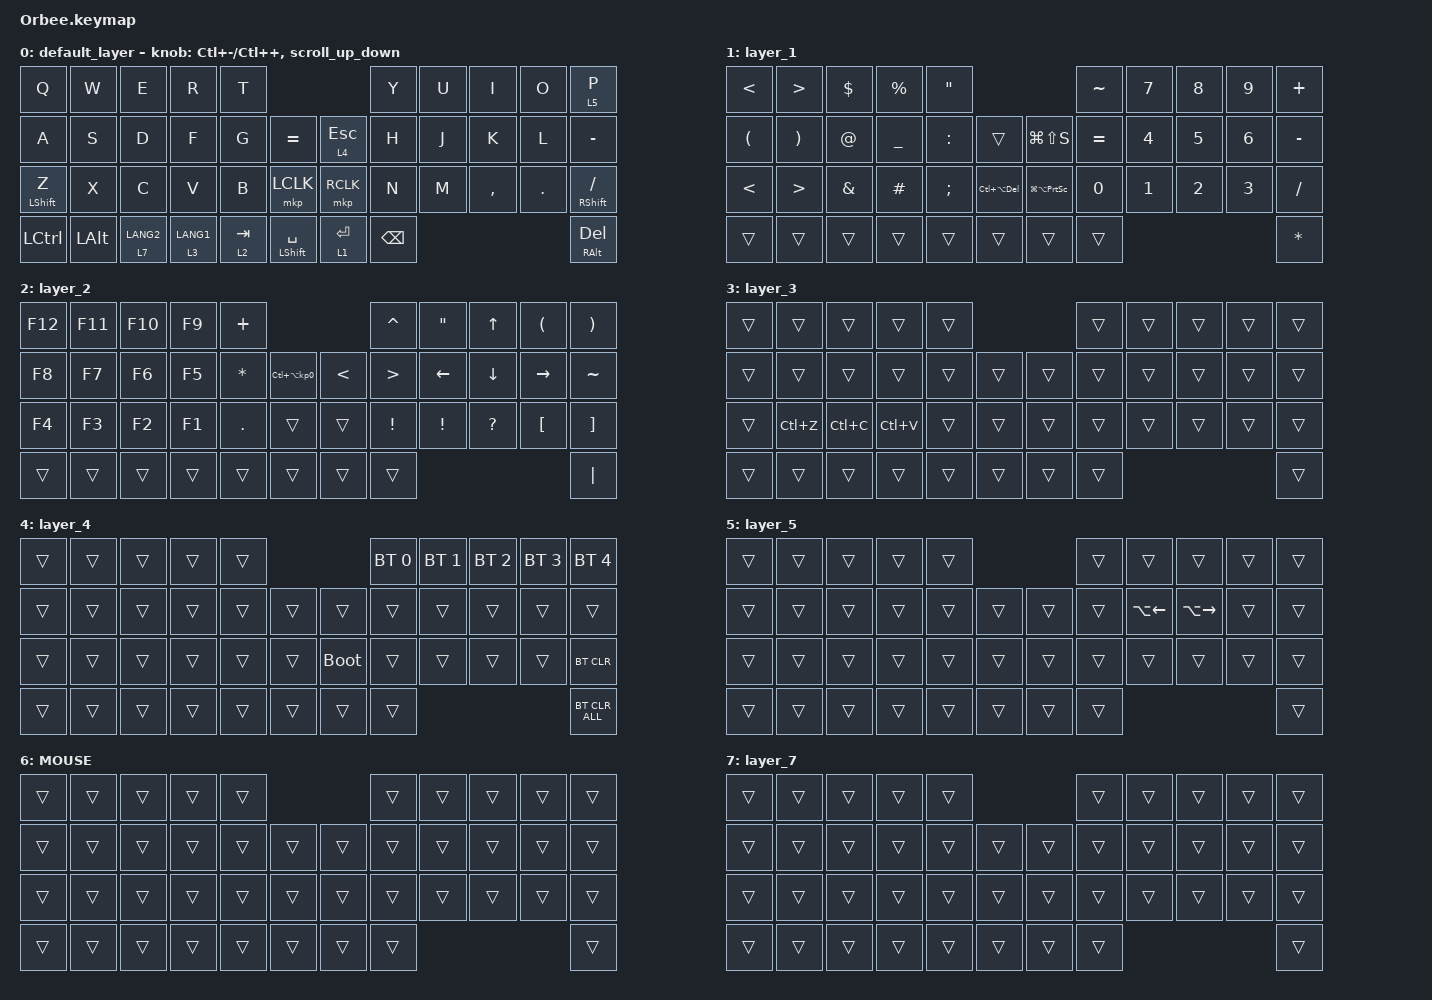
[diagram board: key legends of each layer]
#include <input/processors.dtsi>
#include <behaviors.dtsi>
#include <dt-bindings/zmk/bt.h>
#include <dt-bindings/zmk/keys.h>
#include <dt-bindings/zmk/pointing.h>

#define MOUSE 6

&mt {
    flavor = "balanced";
    quick-tap-ms = <0>;
};

/ {
    /* ▼▼▼ この aliases ブロックを丸ごと追加します ▼▼▼ */

    aliases {
        led-red = &led0;
        led-green = &led1;
        led-blue = &led2;
    };

    /* ▲▲▲ 追加箇所ここまで ▲▲▲ */

    combos { compatible = "zmk,combos"; };

    macros {
        to_layer_0: to_layer_0 {
            compatible = "zmk,behavior-macro-one-param";
            #binding-cells = <1>;
            bindings = <&to 0 &macro_param_1to1 &kp MACRO_PLACEHOLDER>;
            label = "TO_LAYER_0";
        };
    };

    behaviors {
        auto_mouse_layer: auto_mouse_layer {
            compatible = "zmk,input-behavior-tog-layer";
            #binding-cells = <1>;
            time-out-ms = <10000>;
            exit-on-interruption;  /* ← コメントアウトを外し、有効化します */
        };

        scroller: scroller {
            compatible = "zmk,input-behavior-touch-pad-scroll";
            #binding-cells = <0>;
            delay-ms = <0>;
            tap-ms = <5>;
        };

        touch_behavior_1: touch1 {
            compatible = "zmk,behavior-momentary";
            label = "TouchKey1";
            bindings = <&kp A>;
        };

        touch_behavior_2: touch2 {
            compatible = "zmk,behavior-momentary";
            label = "TouchKey2";
            bindings = <&kp B>;
        };

        touch_behavior_3: touch3 {
            compatible = "zmk,behavior-momentary";
            label = "TouchKey3";
            bindings = <&mo 1>;
        };

        lt_to_layer_0: lt_to_layer_0 {
            compatible = "zmk,behavior-hold-tap";
            label = "LAYER_TAP_TO_0";
            bindings = <&mo>, <&to_layer_0>;

            #binding-cells = <2>;
            tapping-term-ms = <200>;
        };

        /* ロータリーエンコーダー用のスクロール設定 */

        scroll_up_down: behavior_sensor_rotate_mouse_wheel_up_down {
            compatible = "zmk,behavior-sensor-rotate";
            #sensor-binding-cells = <0>;

            /* SCRL_UP / SCRL_DOWN はマウスホイールの動作です */

            bindings = <&msc SCRL_UP>, <&msc SCRL_DOWN>;

            tap-ms = <20>;
        };
    };

    /* * 【重要】Orbee rev.2 の左右ビルドを通すための設定 (そのまま維持) */

    #if EXPOSE_TRACKBALL

    trackball_listener {
        compatible = "zmk,input-behavior-listener";
        device = <&trackball>;
        layers = <0>;
        evt-type = <INPUT_EV_REL>;
        x-input-code = <INPUT_REL_X>;
        y-input-code = <INPUT_REL_Y>;
        bindings = <&auto_mouse_layer MOUSE>;
    };

    scroll_listener {
        compatible = "zmk,input-behavior-listener";
        device = <&trackball>;
        layers = <MOUSE>;
        evt-type = <INPUT_EV_REL>;
        x-input-code = <INPUT_REL_X>;
        y-input-code = <INPUT_REL_Y>;
        bindings = <&scroller>;
        xy-multiplier = <1>;
    };

    /* ▼▼▼ 追加箇所ここから ▼▼▼ */
    /* 特定レイヤー(例:2)でトラックボールをスクロールにする設定 */

    scroll_listener_layer2 {
        compatible = "zmk,input-behavior-listener";
        device = <&trackball>;
        layers = <5>;                /* ← 適用したいレイヤー番号を指定 */
        evt-type = <INPUT_EV_REL>;
        x-input-code = <INPUT_REL_X>;
        y-input-code = <INPUT_REL_Y>;

        /* XYの動きをスクロールイベントに直接変換 */

        input-processors = <&zip_xy_to_scroll_mapper>;
    };

    /* ▲▲▲ 追加箇所ここまで ▲▲▲ */

    #endif

    keymap {
        compatible = "zmk,keymap";

        /* sensors = ... の行は削除してデフォルト定義を使用します */

        default_layer {
            bindings = <
&kp Q             &kp W         &kp E        &kp R        &kp T                                            &kp Y          &kp U  &kp I      &kp O    &lt 5 P
&kp A             &kp S         &kp D        &kp F        &kp G      &kp EQUAL               &lt 4 ESCAPE  &kp H          &kp J  &kp K      &kp L    &kp MINUS
&mt LEFT_SHIFT Z  &kp X         &kp C        &kp V        &kp B      &mkp LCLK               &mkp RCLK     &kp N          &kp M  &kp COMMA  &kp DOT  &mt RIGHT_SHIFT SLASH
&kp LEFT_CONTROL  &kp LEFT_ALT  &lt 7 LANG2  &lt 3 LANG1  &lt 2 TAB  &mt LEFT_SHIFT SPACE    &lt 1 ENTER   &kp BACKSPACE                             &mt RIGHT_ALT DEL
            >;

            /* ▼▼▼ ここを修正しました ▼▼▼
             * 1つ目と2つ目の両方にスクロール(&scroll_up_down)を割り当てました。
             * これで左右どちらのエンコーダーもスクロールとして動作するはずです。
             */

            sensor-bindings =
                <&inc_dec_kp LC(MINUS) LC(PLUS)>,
                <&scroll_up_down>;
        };

        layer_1 {
            bindings = <
&kp LESS_THAN         &kp GREATER_THAN       &kp DOLLAR     &kp PERCENT     &kp DOUBLE_QUOTES                                              &kp TILDE  &kp N7        &kp N8        &kp N9        &kp PLUS
&kp LEFT_PARENTHESIS  &kp RIGHT_PARENTHESIS  &kp AT_SIGN    &kp UNDERSCORE  &kp COLON          &trans             &kp LG(LS(S))            &kp EQUAL  &kp NUMBER_4  &kp N5        &kp NUMBER_6  &kp MINUS
&kp LESS_THAN         &kp GREATER_THAN       &kp AMPERSAND  &kp HASH        &kp SEMICOLON      &kp LC(LA(DEL))    &kp LG(LA(PRINTSCREEN))  &kp N0     &kp NUMBER_1  &kp NUMBER_2  &kp NUMBER_3  &kp SLASH
&trans                &trans                 &trans         &trans          &trans             &trans             &trans                   &trans                                               &kp ASTERISK
            >;
        };

        layer_2 {
            bindings = <
&kp F12  &kp F11  &kp F10  &kp F9  &kp PLUS                                                &kp CARET         &kp DOUBLE_QUOTES  &kp UP_ARROW    &kp LEFT_PARENTHESIS  &kp RIGHT_PARENTHESIS
&kp F8   &kp F7   &kp F6   &kp F5  &kp ASTERISK  &kp LC(LA(KP_NUMBER_0))    &kp LESS_THAN  &kp GREATER_THAN  &kp LEFT_ARROW     &kp DOWN_ARROW  &kp RIGHT             &kp TILDE
&kp F4   &kp F3   &kp F2   &kp F1  &kp PERIOD    &trans                     &trans         &kp EXCLAMATION   &kp EXCLAMATION    &kp QUESTION    &kp LEFT_BRACKET      &kp RIGHT_BRACKET
&trans   &trans   &trans   &trans  &trans        &trans                     &trans         &trans                                                                     &kp PIPE
            >;
        };

        layer_3 {
            bindings = <
&trans  &trans     &trans     &trans     &trans                    &trans  &trans  &trans  &trans  &trans
&trans  &trans     &trans     &trans     &trans  &trans    &trans  &trans  &trans  &trans  &trans  &trans
&trans  &kp LC(Z)  &kp LC(C)  &kp LC(V)  &trans  &trans    &trans  &trans  &trans  &trans  &trans  &trans
&trans  &trans     &trans     &trans     &trans  &trans    &trans  &trans                          &trans
            >;
        };

        layer_4 {
            bindings = <
&trans  &trans  &trans  &trans  &trans                         &bt BT_SEL 0  &bt BT_SEL 1  &bt BT_SEL 2  &bt BT_SEL 3  &bt BT_SEL 4
&trans  &trans  &trans  &trans  &trans  &trans    &trans       &trans        &trans        &trans        &trans        &trans
&trans  &trans  &trans  &trans  &trans  &trans    &bootloader  &trans        &trans        &trans        &trans        &bt BT_CLR
&trans  &trans  &trans  &trans  &trans  &trans    &trans       &trans                                                  &bt BT_CLR_ALL
            >;
        };

        layer_5 {
            bindings = <
&trans  &trans  &trans  &trans  &trans                    &trans  &trans        &trans               &trans  &trans
&trans  &trans  &trans  &trans  &trans  &trans    &trans  &trans  &kp LA(LEFT)  &kp LA(RIGHT_ARROW)  &trans  &trans
&trans  &trans  &trans  &trans  &trans  &trans    &trans  &trans  &trans        &trans               &trans  &trans
&trans  &trans  &trans  &trans  &trans  &trans    &trans  &trans                                             &trans
            >;
        };

        MOUSE {
            bindings = <
&trans  &trans  &trans  &trans  &trans                    &trans  &trans  &trans  &trans  &trans
&trans  &trans  &trans  &trans  &trans  &trans    &trans  &trans  &trans  &trans  &trans  &trans
&trans  &trans  &trans  &trans  &trans  &trans    &trans  &trans  &trans  &trans  &trans  &trans
&trans  &trans  &trans  &trans  &trans  &trans    &trans  &trans                          &trans
            >;
        };

        layer_7 {
            bindings = <
&trans  &trans  &trans  &trans  &trans                    &trans  &trans  &trans  &trans  &trans
&trans  &trans  &trans  &trans  &trans  &trans    &trans  &trans  &trans  &trans  &trans  &trans
&trans  &trans  &trans  &trans  &trans  &trans    &trans  &trans  &trans  &trans  &trans  &trans
&trans  &trans  &trans  &trans  &trans  &trans    &trans  &trans                          &trans
            >;
        };
    };
};
